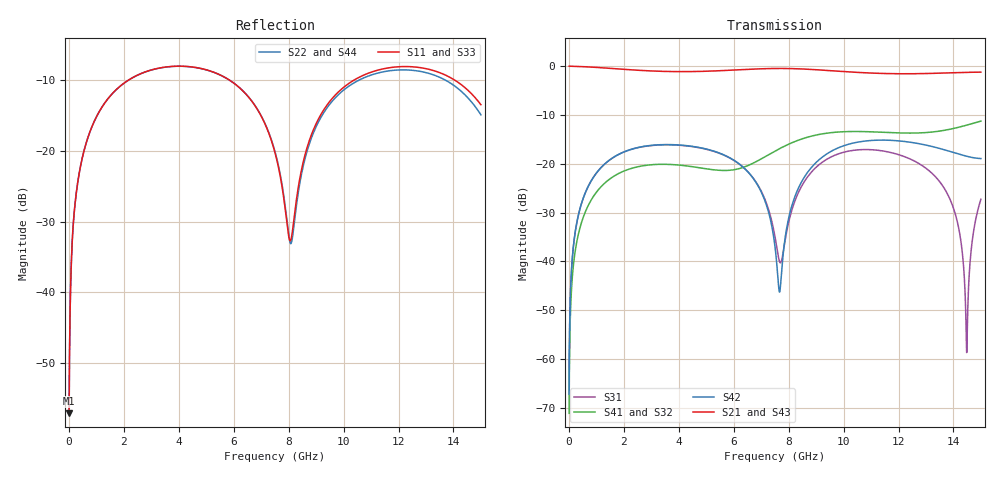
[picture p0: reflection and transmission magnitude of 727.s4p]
! Created with skrf 1.8.0 (http://scikit-rf.org).
# GHz S RI R 50.0
!freq ReS11 ImS11 ReS12 ImS12 ReS13 ImS13
! ReS14 ImS14
! ReS21 ImS21 ReS22 ImS22 ReS23 ImS23
! ReS24 ImS24
! ReS31 ImS31 ReS32 ImS32 ReS33 ImS33
! ReS34 ImS34
! ReS41 ImS41 ReS42 ImS42 ReS43 ImS43
! ReS44 ImS44
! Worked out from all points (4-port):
!   2499 points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, 5 MHz to 15 GHz, reference 50 ohm
!   strongest paths, dB at 5 MHz, 3.476 GHz, 7.19 GHz, 11.1 GHz, 15 GHz:
!     S21: 0.0, -1.1, -0.5, -1.4, -1.2
!     S43: 0.0, -1.1, -0.5, -1.4, -1.2
!     S42: -67.1, -16.1, -28.5, -15.2, -18.9
!     S41: -71.1, -20.1, -18.4, -13.5, -11.3
!     S32: -71.1, -20.1, -18.4, -13.4, -11.3
!     S31: -67.1, -16.1, -28.1, -17.1, -27.3
!   lowest |S11| = -57.1 dB at 5 MHz (marker M1), VSWR 1.00, Z = 50.1 + j0.0852 ohm
!   |S11| at or under -10 dB: start of sweep to 2.184 GHz; 5.826 GHz to 10.4 GHz (4.573 GHz wide, 56.4 % of centre); 14.03 GHz to end of sweep
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0.005  0.00112 0.00085  0.9989 -0.00218  5.45e-05 0.000437  -5.3e-05 -0.000274
       0.9989 -0.00218  0.00112 0.00085  -5.3e-05 -0.000274  5.45e-05 0.000437
       5.45e-05 0.000437  -5.3e-05 -0.000274  0.00112 0.00085  0.9989 -0.00218
       -5.3e-05 -0.000274  5.45e-05 0.000437  0.9989 -0.00218  0.00112 0.00085
0.4126719  0.0191 0.0739  0.9737 -0.1787  0.00874 0.0346  -0.0073 -0.0216
           0.9737 -0.1787  0.0191 0.0739  -0.0073 -0.0216  0.00883 0.0346
           0.00874 0.0346  -0.0073 -0.0216  0.0191 0.0739  0.9737 -0.1787
           -0.0073 -0.0216  0.00883 0.0346  0.9737 -0.1787  0.0191 0.0739
2.075865  0.2411 0.1889  0.6099 -0.6939  0.1155 0.0691  -0.0845 -0.0157
          0.6099 -0.6939  0.2406 0.1893  -0.0845 -0.0157  0.1168 0.0676
          0.1155 0.0691  -0.0845 -0.0157  0.2411 0.1889  0.6099 -0.6939
          -0.0845 -0.0157  0.1168 0.0676  0.6099 -0.6939  0.2405 0.1893
8.15965  0.0243 0.0161  -0.9421 -0.0202  -0.001 0.0367  0.00183 0.1661
         -0.9421 -0.0202  0.0229 0.0126  0.00175 0.1662  0.0195 0.0357
         -0.001 0.0367  0.00175 0.1662  0.0219 0.0178  -0.9421 -0.0199
         0.00183 0.1661  0.0195 0.0357  -0.9421 -0.0199  0.0252 0.0144
12.78033  0.3779 -0.0765  0.101 0.8314  0.0861 -0.0492  0.1959 -0.0674
          0.101 0.8314  0.3595 -0.0495  0.1962 -0.0685  0.0766 -0.1405
          0.0861 -0.0492  0.1962 -0.0685  0.3814 -0.071  0.0995 0.8305
          0.1959 -0.0674  0.0766 -0.1405  0.0995 0.8305  0.3618 -0.0548
14.48103  0.2028 -0.1811  0.5929 0.6273  -0.000946 -0.000684  0.1774 -0.1742
          0.5929 0.6273  0.1988 -0.1364  0.1761 -0.1751  -0.0781 -0.0903
          -0.000946 -0.000684  0.1761 -0.1751  0.2102 -0.1794  0.59 0.6286
          0.1774 -0.1742  -0.0781 -0.0903  0.59 0.6286  0.1986 -0.143
15  0.1386 -0.159  0.7134 0.4937  -0.00964 0.0422  0.1584 -0.2231
    0.7134 0.4937  0.1419 -0.1094  0.1569 -0.2235  -0.1078 -0.0345
    -0.00964 0.0422  0.1569 -0.2235  0.1463 -0.1596  0.7107 0.496
    0.1584 -0.2231  -0.1078 -0.0345  0.7107 0.496  0.1408 -0.1163
